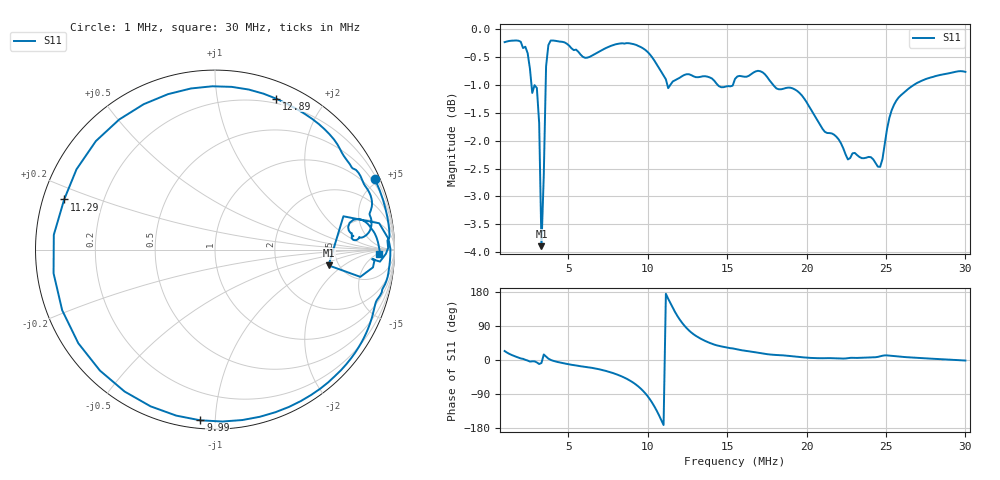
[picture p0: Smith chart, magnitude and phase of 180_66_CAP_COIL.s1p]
!Keysight Technologies N9918A: A.12.56
!Date: Monday, 07 July 2025 03:49:24
!TimeZone: (UTC-08:00) Pacific Time (US & Canada)!Model: N9918A
!Serial: MY56072139
!GPS Latitude:
!GPS Longitude:
!GPS TimeStamp: 0001-01-01 00:00:00Z
!GPS Seconds Since Last Read: 0
!CHECKSUM:0028483289
!Correction: S11(Rdy)
!S1P File: Measurement: S11:
# Hz S DB R 50
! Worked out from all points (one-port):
!   201 points, 1 MHz to 30 MHz, reference 50 ohm
!   lowest |S11| = -3.9 dB at 3.32 MHz (marker M1), VSWR 4.53, Z = 207 - j61.5 ohm
!   |S11| at or under -10 dB: nowhere
!   S11 on the Smith chart (normalised r, x): 1 MHz: 0.31, +4.74; 9.99 MHz: 0.04, -0.92; 11.29 MHz: 0.06, +0.16; 12.89 MHz: 0.15, +1.47; 30 MHz: 21, -6
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1000000  -0.23 23.7
2450000  -0.43 -1.5
3030000  -1.05 -6.4
3175000  -1.68 -10.6
3320000  -3.90 -7.9
3465000  -2.63 14.5
3610000  -0.66 9.1
3755000  -0.28 3.6
4625000  -0.22 -7.8
6800000  -0.42 -23.2
8250000  -0.25 -41.1
9265000  -0.28 -64.8
9990000  -0.40 -94.9
1.028e7  -0.50 -112.4
1.057e7  -0.63 -133.6
1.1005e7  -0.83 -171.7
1.1295e7  -1.06 161.6
1.1585e7  -0.94 137.7
1.1875e7  -0.89 116.1
1.231e7  -0.82 91.0
1.289e7  -0.84 68.0
1.3905e7  -0.86 45.1
1.55e7  -0.89 29.5
1.9125e7  -1.06 9.8
2.275e7  -2.31 5.6
2.4635e7  -2.47 9.6
2.6375e7  -1.08 7.2
3e7  -0.76 -1.4
